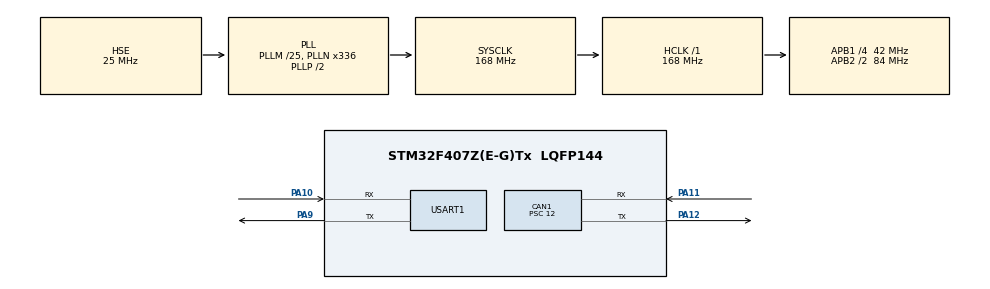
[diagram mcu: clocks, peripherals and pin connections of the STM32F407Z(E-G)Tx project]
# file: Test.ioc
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CAN1.BS1=CAN_BS1_4TQ
CAN1.BS2=CAN_BS2_2TQ
CAN1.CalculateBaudRate=500000
CAN1.CalculateTimeBit=2000
CAN1.CalculateTimeQuantum=285.7142857142857
CAN1.NART=ENABLE
CAN1.Prescaler=12
CAN1.TTCM=ENABLE
Mcu.Family=STM32F4
Mcu.Name=STM32F407Z(E-G)Tx
Mcu.Package=LQFP144
NVIC.CAN1_RX0_IRQn=true\:0\:0\:false\:false\:true\:true\:true\:true
NVIC.CAN1_TX_IRQn=true\:0\:0\:false\:false\:true\:true\:true\:true
NVIC.PriorityGroup=NVIC_PRIORITYGROUP_4
NVIC.USART1_IRQn=true\:0\:0\:false\:false\:true\:true\:true\:true
PA10.Mode=Asynchronous
PA10.Signal=USART1_RX
PA11.Mode=CAN_Activate
PA11.Signal=CAN1_RX
PA12.Mode=CAN_Activate
PA12.Signal=CAN1_TX
PA9.Mode=Asynchronous
PA9.Signal=USART1_TX
PH0-OSC_IN.Mode=HSE-External-Oscillator
PH0-OSC_IN.Signal=RCC_OSC_IN
PH1-OSC_OUT.Mode=HSE-External-Oscillator
PH1-OSC_OUT.Signal=RCC_OSC_OUT
ProjectManager.HeapSize=0x200
ProjectManager.StackSize=0x400
ProjectManager.TargetToolchain=MDK-ARM V5.32
RCC.48MHZClocksFreq_Value=84000000
RCC.AHBFreq_Value=168000000
RCC.APB1CLKDivider=RCC_HCLK_DIV4
RCC.APB1Freq_Value=42000000
RCC.APB1TimFreq_Value=84000000
RCC.APB2CLKDivider=RCC_HCLK_DIV2
RCC.APB2Freq_Value=84000000
RCC.APB2TimFreq_Value=168000000
RCC.CortexFreq_Value=168000000
RCC.HCLKFreq_Value=168000000
RCC.HSE_VALUE=25000000
RCC.HSI_VALUE=16000000
RCC.LSE_VALUE=32768
RCC.PLLM=25
RCC.PLLN=336
RCC.PLLSourceVirtual=RCC_PLLSOURCE_HSE
RCC.SYSCLKFreq_VALUE=168000000
RCC.SYSCLKSource=RCC_SYSCLKSOURCE_PLLCLK
RCC.VCOOutputFreq_Value=336000000
USART1.VirtualMode=VM_ASYNC
board=custom

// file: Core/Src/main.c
/* USER CODE BEGIN Header */
/**
  ******************************************************************************
  * @file           : main.c
  * @brief          : Main program body
  ******************************************************************************
  * @attention
  *
  * 本程序在原有的基础上添加了CAN总线的测试代码，并确保UART波特率设置为115200。
  * 在关键位置添加了printf语句用于调试和检验。
  *
  ******************************************************************************
  */
/* USER CODE END Header */
#include "main.h"
#include "can.h"
#include "usart.h"
#include "gpio.h"

/* USER CODE BEGIN Includes */
#include <stdio.h>

/* USER CODE END Includes */

/* USER CODE BEGIN PD */

// 定义标准ID和扩展ID类型的宏
#define ID_TYPE_STANDARD  CAN_ID_STD
#define ID_TYPE_EXTENDED  CAN_ID_EXT

/* USER CODE END PD */

/* USER CODE BEGIN PV */
uint8_t send_data[8] = {0};  // 存放要发送的CAN数据
uint8_t id_type_std = 1;     // 用于标识标准或扩展ID的切换

/* 新增变量，用于接收CAN数据 */
CAN_RxHeaderTypeDef rx_header;
uint8_t rx_data[8] = {0};

/* USER CODE END PV */

void SystemClock_Config(void);
/* USER CODE BEGIN PFP */

/* 新增CAN接收回调函数的声明 */
void HAL_CAN_RxFifo0MsgPendingCallback(CAN_HandleTypeDef *hcan);

/* USER CODE END PFP */

/* USER CODE BEGIN 0 */
#ifdef __GNUC__
#define PUTCHAR_PROTOTYPE int __io_putchar(int ch)
#else
#define PUTCHAR_PROTOTYPE int fputc(int ch, FILE *f)
#endif
PUTCHAR_PROTOTYPE
{
  HAL_UART_Transmit(&huart1 , (uint8_t *)&ch, 1, 0xFFFF);
  return ch;
}
/* USER CODE END 0 */

int main(void)
{

  /* MCU Configuration--------------------------------------------------------*/

  /* Reset of all peripherals, Initializes the Flash interface and the Systick. */
  HAL_Init();

  /* Configure the system clock */
  SystemClock_Config();

  /* Initialize all configured peripherals */
  MX_GPIO_Init();
  MX_USART1_UART_Init();
  MX_CAN1_Init();
  /* USER CODE BEGIN 2 */

  /* 启动CAN1 */
  if (HAL_CAN_Start(&hcan1) != HAL_OK)
  {
    /* 启动失败，输出错误信息 */
    printf("CAN1 Start Error\r\n");
    Error_Handler();
  }
  else
  {
    /* 启动成功，输出提示信息 */
    printf("CAN1 Started Successfully\r\n");
  }

  /* 配置CAN1过滤器 */
  if (bsp_can1_filter_config() != BSP_CAN_OK)
  {
    /* 过滤器配置失败，输出错误信息 */
    printf("CAN1 Filter Configuration Error\r\n");
    Error_Handler();
  }
  else
  {
    /* 配置成功，输出提示信息 */
    printf("CAN1 Filter Configured Successfully\r\n");
  }

  /* 激活CAN1接收中断通知 */
 if (HAL_CAN_ActivateNotification(&hcan1, CAN_IT_RX_FIFO0_MSG_PENDING | CAN_IT_TX_MAILBOX_EMPTY) != HAL_OK)
  {
    /* 激活失败，输出错误信息 */
    printf("CAN1 Notification Activation Error\r\n");
    Error_Handler();
  }
  else
  {
    /* 激活成功，输出提示信息 */
    printf("CAN1 Notification Activated\r\n");
  }

  /* 初始化发送数据 */
  for (uint8_t i = 0; i < 8; i++)
  {
    send_data[i] = i;
  }

  /* USER CODE END 2 */

  /* Infinite loop */
  /* USER CODE BEGIN WHILE */
  while (1)
  {
    /* 输出循环提示 */
    //printf("Sending CAN message...\r\n");

    /* 发送CAN消息 */
    if (bsp_can1_send_msg(ID_TYPE_STANDARD, 0x123, 0x00, send_data, 8) != BSP_CAN_OK)
    {
      /* 发送失败，输出错误信息 */
      //printf("CAN1 Message Send Error\r\n");
    }
    else
    {
      /* 发送成功，输出提示信息 */
      //printf("CAN1 Message Sent\r\n");
    }

    /* 发送数据递增，便于观察数据变化 */
    for (uint8_t i = 0; i < 8; i++)
    {
      send_data[i]++;
    }

    /* 延时1秒 */
    HAL_Delay(1000);

    /* USER CODE END WHILE */

  }
}

void SystemClock_Config(void)
{
  RCC_OscInitTypeDef RCC_OscInitStruct = {0};
  RCC_ClkInitTypeDef RCC_ClkInitStruct = {0};

  /** Configure the main internal regulator output voltage
  */
  __HAL_RCC_PWR_CLK_ENABLE();
  __HAL_PWR_VOLTAGESCALING_CONFIG(PWR_REGULATOR_VOLTAGE_SCALE1);

  /** Initializes the RCC Oscillators according to the specified parameters
  * in the RCC_OscInitTypeDef structure.
  */
  RCC_OscInitStruct.OscillatorType = RCC_OSCILLATORTYPE_HSE;
  RCC_OscInitStruct.HSEState = RCC_HSE_ON;
  RCC_OscInitStruct.PLL.PLLState = RCC_PLL_ON;
  RCC_OscInitStruct.PLL.PLLSource = RCC_PLLSOURCE_HSE;
  RCC_OscInitStruct.PLL.PLLM = 25;
  RCC_OscInitStruct.PLL.PLLN = 336;
  RCC_OscInitStruct.PLL.PLLP = RCC_PLLP_DIV2;
  RCC_OscInitStruct.PLL.PLLQ = 4;
  if (HAL_RCC_OscConfig(&RCC_OscInitStruct) != HAL_OK)
  {
    Error_Handler();
  }

  /** Initializes the CPU, AHB and APB buses clocks
  */
  RCC_ClkInitStruct.ClockType = RCC_CLOCKTYPE_HCLK|RCC_CLOCKTYPE_SYSCLK
                              |RCC_CLOCKTYPE_PCLK1|RCC_CLOCKTYPE_PCLK2;
  RCC_ClkInitStruct.SYSCLKSource = RCC_SYSCLKSOURCE_PLLCLK;
  RCC_ClkInitStruct.AHBCLKDivider = RCC_SYSCLK_DIV1;
  RCC_ClkInitStruct.APB1CLKDivider = RCC_HCLK_DIV4;
  RCC_ClkInitStruct.APB2CLKDivider = RCC_HCLK_DIV2;

  if (HAL_RCC_ClockConfig(&RCC_ClkInitStruct, FLASH_LATENCY_5) != HAL_OK)
  {
    Error_Handler();
  }
}

/* USER CODE BEGIN 4 */

/**
  * @brief  CAN接收回调函数，当接收到新的CAN消息时调用
  * @param  hcan: CAN句柄
  * @retval None
  */
void HAL_CAN_RxFifo0MsgPendingCallback(CAN_HandleTypeDef *hcan)
{
  /* 从FIFO0中获取CAN消息 */
  if (HAL_CAN_GetRxMessage(hcan, CAN_RX_FIFO0, &rx_header, rx_data) != HAL_OK)
  {
    /* 获取消息失败，输出错误信息 */
    //printf("CAN1 Receive Error\r\n");
  }
  else
  {
    /* 获取消息成功，输出接收到的消息ID和数据 */
		/*
    printf("Received CAN message:\r\n");
    printf("ID: 0x%X\r\n", rx_header.StdId);
    printf("Data: ");
    for (uint8_t i = 0; i < rx_header.DLC; i++)
    {
      printf("%02X ", rx_data[i]);
    }
    printf("\r\n");
		*/
  }
}

/* USER CODE END 4 */

void Error_Handler(void)
{
  /* USER CODE BEGIN Error_Handler_Debug */
  /* 用户可以在此处添加自己的错误处理代码 */
  __disable_irq();
  while (1)
  {
    // 错误发生时，进入死循环
  }
  /* USER CODE END Error_Handler_Debug */
}
